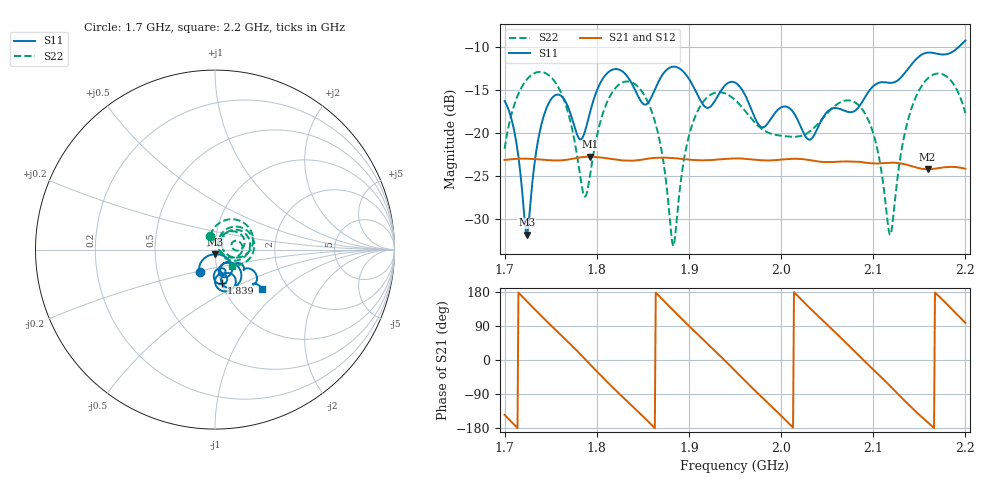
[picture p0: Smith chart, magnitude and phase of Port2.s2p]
# Hz S RI R 50
! CMT, CMT808U, 21440046, 21.4.3/4
! Date: 12/13/2025 10:44:58 PM
! Data: Format (Calibration Info)
! Freq	S11:Re/Im(F2)	S41:Re/Im(F2)	S14:Re/Im(F2)	S44:Re/Im(F2)
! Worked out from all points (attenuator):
!   501 points, 1.7 GHz to 2.2 GHz, reference 50 ohm
!   highest |S21| = -22.79 dB at 1.793 GHz (marker M1); lowest = -24.3 dB at 2.159 GHz (marker M2)
!   lowest |S11| = -31.9 dB at 1.724 GHz (marker M3), VSWR 1.05, Z = 50 - j2.55 ohm
!   |S11| at or under -10 dB: start of sweep to 2.193 GHz
!   |S22| runs from -33.2 to -12.9 dB; largest |S21 - S12| = 0.00037
!   S11 on the Smith chart (normalised r, x): 1.7 GHz: 0.82, -0.21; 1.839 GHz: 1.00, -0.39; 2.2 GHz: 1.49, -0.75
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1.7e9  -0.0851 -0.1267  -0.0567 -0.04  -0.0565 -0.04  -0.0258 0.0764
1.712e9  -0.0707 -0.0595  -0.0701 -0.00655  -0.07 -0.00674  0.028 0.1508
1.724e9  0.000389 -0.0255  -0.0641 0.0295  -0.064 0.0293  0.1163 0.1672
1.736e9  0.0717 -0.0517  -0.0407 0.057  -0.0408 0.0567  0.1897 0.1214
1.749e9  0.0949 -0.1191  -0.00507 0.069  -0.00521 0.0687  0.2109 0.0356
1.768e9  0.0292 -0.1417  0.045 0.0531  0.0448 0.0532  0.1283 -0.0441
1.784e9  0.0547 -0.0745  0.0708 0.0134  0.0706 0.0135  0.0478 -0.0045
1.793e9  0.1078 -0.0784  0.0709 -0.0153  0.0708 -0.0152  0.0376 0.0442
1.812e9  0.1407 -0.1739  0.0358 -0.0609  0.0359 -0.0607  0.1066 0.111
1.839e9  0.0369 -0.1853  -0.0371 -0.0578  -0.0369 -0.0579  0.1945 0.0149
1.867e9  0.1137 -0.1621  -0.0704 0.0121  -0.0704 0.0118  0.0772 -0.0576
1.883e9  0.08 -0.2287  -0.0465 0.0538  -0.0466 0.0536  0.0214 0.0043
1.908e9  0.000454 -0.1717  0.0221 0.0655  0.022 0.0654  0.0805 0.1002
1.95e9  0.0302 -0.1936  0.0624 -0.0336  0.0623 -0.0333  0.1549 0.00996
1.978e9  0.0197 -0.1062  -0.00672 -0.0688  -0.00647 -0.0687  0.1063 -0.00061
2.034e9  0.0584 -0.073  -0.0445 0.0525  -0.0446 0.0524  0.0965 0.0402
2.088e9  0.131 -0.075  0.0672 0.0032  0.0672 0.00337  0.1333 -0.032
2.104e9  0.1621 -0.105  0.0545 -0.0375  0.0545 -0.0373  0.0713 -0.0409
2.117e9  0.1588 -0.1133  0.0279 -0.0607  0.0281 -0.0605  0.0265 0.00152
2.137e9  0.2042 -0.1111  -0.027 -0.0591  -0.0269 -0.0591  0.0497 0.1033
2.159e9  0.2281 -0.183  -0.059 -0.0167  -0.0589 -0.0169  0.176 0.108
2.2e9  0.264 -0.2209  -0.00834 0.0611  -0.0085 0.061  0.0942 -0.0895
